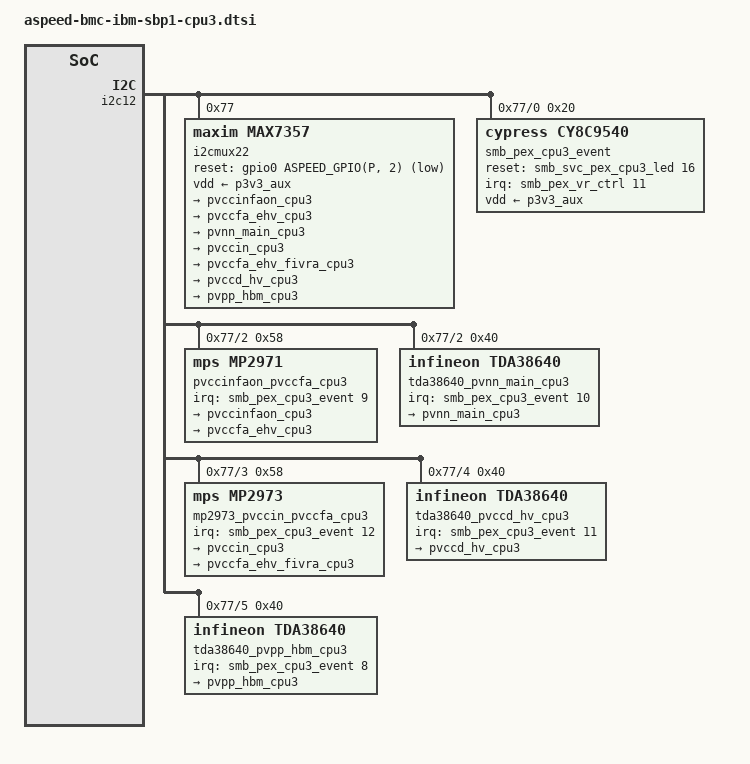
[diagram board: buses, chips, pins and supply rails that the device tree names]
&i2c12 { // BMC_MUX_CPU3 TODO: Figureout right regulator
	status = "okay";
	// Bus frequency limited to 100KHz by cy8c9540

	i2cmux22: mux@77 {
		#address-cells = <1>;
		#size-cells = <0>;
		compatible = "maxim,max7357";
		reg = <0x77>;
		reset-gpios = <&gpio0 ASPEED_GPIO(P, 2) (GPIO_ACTIVE_LOW | GPIO_OPEN_DRAIN)>; // BMC_MUX_CPU3_RST_INT_N
		vdd-supply = <&p3v3_aux>;

		i2c@0 { // SMB_PEX_CPU3_EVENT
			#address-cells = <1>;
			#size-cells = <0>;
			reg = <0>;
			smb_pex_cpu3_event: U62110@20 {
				#address-cells = <1>;
				#size-cells = <0>;
				compatible = "cypress,cy8c9540";
				reg = <0x20>;
				gpio-controller;
				#gpio-cells = <2>;
				#interrupt-cells=<2>;
				interrupt-parent = <&smb_pex_vr_ctrl>;
				interrupts = <11 IRQ_TYPE_LEVEL_HIGH>; // SMB_PEX_CPU3_EVENT_INT
				interrupt-controller;
				vdd-supply = <&p3v3_aux>;
				// Reset is PEX_CPU3_EVENT_RST
				reset-gpios = <&smb_svc_pex_cpu3_led 16 GPIO_ACTIVE_HIGH>;
				ngpios = <17>;
				//FIXME: Used by unit testing. Uncomment on release.
				gpio-reserved-ranges = <14 2>, <21 1>, <25 3>, <33 1>;

				gpio-line-names =
				/* GPORT0 */
				"PWRGD_CHD_CPU3", "PWRGD_CHC_CPU3",
				"PWRGD_CHB_CPU3", "PWRGD_CHA_CPU3",
				"PWRGD_CHE_CPU3", "PWRGD_CHF_CPU3",
				"PWRGD_CHG_CPU3", "PWRGD_CHH_CPU3",
				/* GPORT1*/
				"SMB_VR_PVPP_HBM_CPU3_ALERT_N", "SMB_VR_PVCCINFAON_CPU3_ALERT_N",
				"SMB_VR_PVNN_MAIN_CPU3_ALERT_N", "SMB_VR_PVCCD_HV_CPU3_ALERT_N",
				"SMB_VR_PVCCIN_CPU3_ALERT_N", "SEL_SMB_DIMM_CPU3",
				"", "",
				/* GPORT2*/
				"PWRGD_LVC3_CPU3_AB_DRAM_G", "PWRGD_LVC3_CPU3_CD_DRAM_G",
				"PWRGD_LVC3_CPU3_EF_DRAM_G", "PWRGD_LVC3_CPU3_GH_DRAM_G",
				/* GPORT3*/
				"FM_CPU3_DISABLE_COD_N", "",
				"RST_LVC3_CPU3_RESET_N", "PWRGD_LVC3_CPU3_PWRGOOD",
				"PWRGD_PLT_AUX_CPU3_LVT3", "",
				"", "",
				/* GPORT4*/
				"H_LVT3_CPU3_PROCHOT_N", "H_LVT3_CPU3_MEMHOT_IN_N",
				"H_LVT3_CPU3_MEMHOT_OUT_N", "H_LVT3_CPU3_MEMTRIP_OUT_N",
				"H_LVT3_CPU3_THERMTRIP_OUT_N", "",
				"H_LVT3_CPU3_NMI", "FM_S3M_CPU3_CD_INIT_ERROR",
				/* GPORT5*/
				"FM_CPU3_PKG_ID0", "FM_CPU3_PKG_ID1",
				"FM_CPU3_PROC_ID0", "FM_CPU3_PROC_ID1";

				pinctrl-0 = <&U62110_pins>;
				pinctrl-names = "default";
				U62110_pins: pin-cfg {
					input {
						pins = "gp10", "gp11", "gp12", "gp13", "gp14",
						"gp40", "gp47", "gp50", "gp51", "gp52", "gp53";
						function = "gpio";
						input-enable;
					};
					input_pullup {
						pins = "gp00", "gp01", "gp02", "gp03", "gp04",
						"gp05", "gp06", "gp07", "gp30", "gp41", "gp42",
						"gp43", "gp44", "gp46";
						function = "gpio";
						input-enable;
						bias-pull-up;
					};
					out-low {
						pins = "gp15", "gp20", "gp21", "gp22", "gp23",
						"gp32", "gp33", "gp34";
						function = "gpio";
						output-enable;
						output-low;
					};
				};
			};
		};
		i2c@1 { // SMB_PIROM_CPU3
			#address-cells = <1>;
			#size-cells = <0>;
			reg = <1>;
		};
		i2c@2 { // SMB_VR_PVCCINFAON_CPU3
			#address-cells = <1>;
			#size-cells = <0>;
			reg = <2>;
			pvccinfaon_pvccfa_cpu3@58 {
				compatible = "mps,mp2971";
				reg = <0x58>;
				// using  SMB_VR_PVCCINFAON_CPU3_ALERT_N
				interrupt-parent = <&smb_pex_cpu3_event>;
				interrupts = <9 IRQ_TYPE_LEVEL_LOW>;

				regulators {
					pvccinfaon_cpu3: vout0 {
						regulator-compatible = "vout0";
						regulator-name = "pvccinfaon_cpu3";
						regulator-enable-ramp-delay = <200>;
						vin-supply = <&p5v>;
					};
					pvccfa_ehv_cpu3: vout1 {
						regulator-compatible = "vout1";
						regulator-name = "pvccfa_ehv_cpu3";
						regulator-enable-ramp-delay = <200>;
						vin-supply = <&p5v>;
					};
				};
			};
			tda38640_pvnn_main_cpu3@40 {
				compatible = "infineon,tda38640";
				reg = <0x40>;
				// using SMB_VR_PVNN_MAIN_CPU3_ALERT_N
				interrupt-parent = <&smb_pex_cpu3_event>;
				interrupts = <10 IRQ_TYPE_LEVEL_LOW>;
				regulators {
					pvnn_main_cpu3: vout0 {
						regulator-compatible = "vout0";
						regulator-name = "pvnn_main_cpu3";
						regulator-enable-ramp-delay = <200>;
						vin-supply = <&p12v_a>;
					};
				};
			};
		};
		i2c@3 { // SMB_VR_PVCCIN_CPU3
			#address-cells = <1>;
			#size-cells = <0>;
			reg = <3>;
			mp2973_pvccin_pvccfa_cpu3@58 {
				compatible = "mps,mp2973";
				reg = <0x58>;
				// using SMB_VR_PVCCIN_CPU3_ALERT_N
				interrupt-parent = <&smb_pex_cpu3_event>;
				interrupts = <12 IRQ_TYPE_LEVEL_LOW>;

				regulators {
					pvccin_cpu3: vout0 {
						regulator-compatible = "vout0";
						regulator-name = "pvccin_cpu3";
						regulator-enable-ramp-delay = <200>;
						vin-supply = <&p5v>;
					};
					pvccfa_ehv_fivra_cpu3: vout1 {
						regulator-compatible = "vout1";
						regulator-name = "pvccfa_ehv_fivra_cpu3";
						regulator-enable-ramp-delay = <200>;
						vin-supply = <&p5v>;
					};
				};
			};
		};
		i2c@4 { // SMB_VR_PVCCD_HV_CPU3
			#address-cells = <1>;
			#size-cells = <0>;
			reg = <4>;
			tda38640_pvccd_hv_cpu3@40 {
				compatible = "infineon,tda38640";
				reg = <0x40>;
				// using  SMB_VR_PVCCD_HV_CPU3_ALERT_N
				interrupt-parent = <&smb_pex_cpu3_event>;
				interrupts = <11 IRQ_TYPE_LEVEL_LOW>;
				infineon,en-pin-fixed-level = <0>;
				regulators {
					pvccd_hv_cpu3: vout0 {
						regulator-compatible = "vout0";
						regulator-name = "pvccd_hv_cpu3";
						regulator-enable-ramp-delay = <200>;
						vin-supply = <&p12v_a>;
					};
				};
			};
		};
		i2c@5 { // SMB_VR_PVPP_HBM_CPU3
			#address-cells = <1>;
			#size-cells = <0>;
			reg = <5>;
			tda38640_pvpp_hbm_cpu3@40 {
				compatible = "infineon,tda38640";
				reg = <0x40>;
				// using   SMB_VR_PVPP_HBM_CPU3_ALERT_N
				interrupt-parent = <&smb_pex_cpu3_event>;
				interrupts = <8 IRQ_TYPE_LEVEL_LOW>;
				regulators {
					pvpp_hbm_cpu3: vout0 {
						regulator-compatible = "vout0";
						regulator-name = "pvpp_hbm_cpu3";
						regulator-enable-ramp-delay = <200>;
						vin-supply = <&p12v_a>;
					};
				};
			};
		};
		i2c@6 { // I2C_DDRABCD_CPU3_BMC
			#address-cells = <1>;
			#size-cells = <0>;
			reg = <6>;
		};
		i2c@7 { // I2C_DDREFGH_CPU3
			#address-cells = <1>;
			#size-cells = <0>;
			reg = <7>;
		};
	};
};
